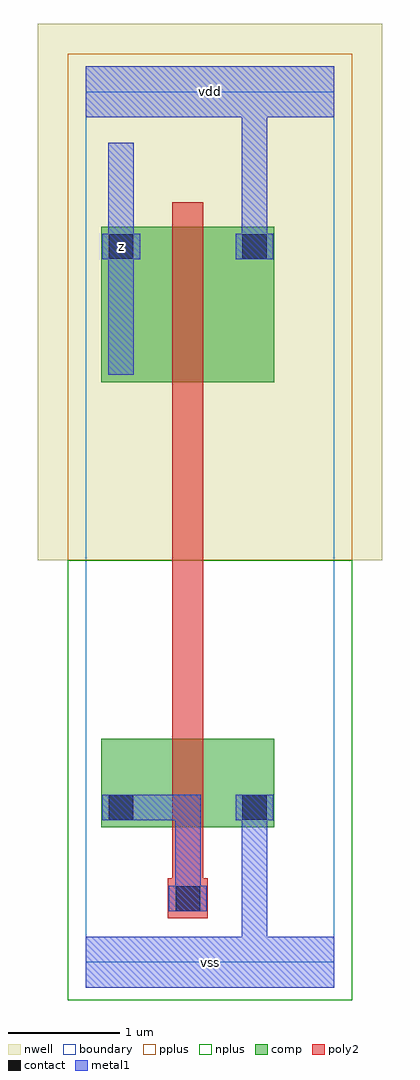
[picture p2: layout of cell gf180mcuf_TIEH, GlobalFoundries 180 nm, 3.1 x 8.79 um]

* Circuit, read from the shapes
.subckt gf180mcuf_TIEH vdd vss z
XM1 vss n1 n1 VSUBS nfet_03v3 w=0.8u l=0.28u
XM2 vdd n1 z n2 pfet_03v3 w=1.4u l=0.28u
.ends

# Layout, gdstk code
import gdstk
lib = gdstk.Library(unit=1e-6, precision=1e-09)
def R(c, l, rs):  # rectangles x0, y0, x1, y1
    for r in rs: c.add(gdstk.rectangle(r[:2], r[2:], *l))
boundary = (0, 0)
nwell = (21, 0)
comp = (22, 0)
poly2 = (30, 0)
pplus = (31, 0)
nplus = (32, 0)
contact = (33, 0)
metal1 = (34, 0)

gf180mcuf_tieh = lib.new_cell('gf180mcuf_TIEH')
R(gf180mcuf_tieh, boundary, [(0,0,2.24,7.84)])
R(gf180mcuf_tieh, nwell, [(-0.43,3.62,2.67,8.45)])
R(gf180mcuf_tieh, comp, [(0.14,1.215,1.7,2.015), (0.14,1.215,0.5,1.575), (1.34,1.215,1.7,1.575), (0.14,5.225,1.7,6.625), (0.14,6.265,0.5,6.625), (1.34,6.265,1.7,6.625)])
R(gf180mcuf_tieh, poly2, [(0.74,0.395,1.1,0.755), (0.78,0.435,1.06,1.535), (0.78,0.995,1.06,2.235), (0.78,1.255,1.06,5.545), (0.78,1.255,1.06,2.795), (0.78,5.005,1.06,6.845)])
R(gf180mcuf_tieh, pplus, [(-0.16,3.62,2.4,7.5), (-0.16,7.5,2.4,8.18)])
R(gf180mcuf_tieh, nplus, [(-0.16,-0.34,2.4,0.34), (-0.16,0.34,2.4,3.62)])
R(gf180mcuf_tieh, contact, [(0.81,0.465,1.03,0.685), (0.21,1.285,0.43,1.505), (1.41,1.285,1.63,1.505), (0.21,6.335,0.43,6.555), (1.41,6.335,1.63,6.555)])
R(gf180mcuf_tieh, metal1, [(0,-0.23,2.24,0.23), (1.405,0.065,1.635,1.51), (0.75,0.46,1.09,0.69), (0.805,0.46,1.035,1.51), (0.15,1.28,0.49,1.51), (0.205,1.28,1.035,1.51), (1.35,1.28,1.69,1.51), (0.205,5.29,0.435,7.38), (0.15,6.33,0.49,6.56), (1.35,6.33,1.69,6.56), (1.405,6.33,1.635,7.775), (0,7.61,2.24,8.07)])
gf180mcuf_tieh.add(gdstk.FlexPath([(0.14,0.575),(1.7,0.575)], 0, ends="flush", simple_path=True, layer=0, datatype=0))  # boundary
gf180mcuf_tieh.add(gdstk.FlexPath([(0.14,1.395),(1.7,1.395)], 0, ends="flush", simple_path=True, layer=0, datatype=0))  # boundary
gf180mcuf_tieh.add(gdstk.FlexPath([(0.14,2.655),(1.7,2.655)], 0, ends="flush", simple_path=True, layer=0, datatype=0))  # boundary
gf180mcuf_tieh.add(gdstk.FlexPath([(0.14,3.255),(1.7,3.255)], 0, ends="flush", simple_path=True, layer=0, datatype=0))  # boundary
gf180mcuf_tieh.add(gdstk.FlexPath([(0.14,3.855),(1.7,3.855)], 0, ends="flush", simple_path=True, layer=0, datatype=0))  # boundary
gf180mcuf_tieh.add(gdstk.FlexPath([(0.14,4.455),(1.7,4.455)], 0, ends="flush", simple_path=True, layer=0, datatype=0))  # boundary
gf180mcuf_tieh.add(gdstk.FlexPath([(0.14,5.405),(1.7,5.405)], 0, ends="flush", simple_path=True, layer=0, datatype=0))  # boundary
gf180mcuf_tieh.add(gdstk.FlexPath([(0.14,6.445),(1.7,6.445)], 0, ends="flush", simple_path=True, layer=0, datatype=0))  # boundary
gf180mcuf_tieh.add(gdstk.FlexPath([(0.14,7.265),(1.7,7.265)], 0, ends="flush", simple_path=True, layer=0, datatype=0))  # boundary
gf180mcuf_tieh.add(gdstk.FlexPath([(0.32,0.065),(0.32,7.775)], 0, ends="flush", simple_path=True, layer=0, datatype=0))  # boundary
gf180mcuf_tieh.add(gdstk.FlexPath([(0.92,0.065),(0.92,7.775)], 0, ends="flush", simple_path=True, layer=0, datatype=0))  # boundary
gf180mcuf_tieh.add(gdstk.FlexPath([(1.52,0.065),(1.52,7.775)], 0, ends="flush", simple_path=True, layer=0, datatype=0))  # boundary
gf180mcuf_tieh.add(gdstk.Label('z', (0.32,6.445), layer=22, texttype=0))
gf180mcuf_tieh.add(gdstk.Label('z', (0.32,6.445), layer=33, texttype=0))
gf180mcuf_tieh.add(gdstk.Label('z', (0.32,6.445), layer=34, texttype=10))
gf180mcuf_tieh.add(gdstk.Label('z', (0.32,6.335), layer=34, texttype=10))
gf180mcuf_tieh.add(gdstk.Label('vss', (1.12,0), layer=34, texttype=10))
gf180mcuf_tieh.add(gdstk.Label('vdd', (1.12,7.84), layer=34, texttype=10))

lib.write_gds('gf180mcuf_TIEH.gds')
